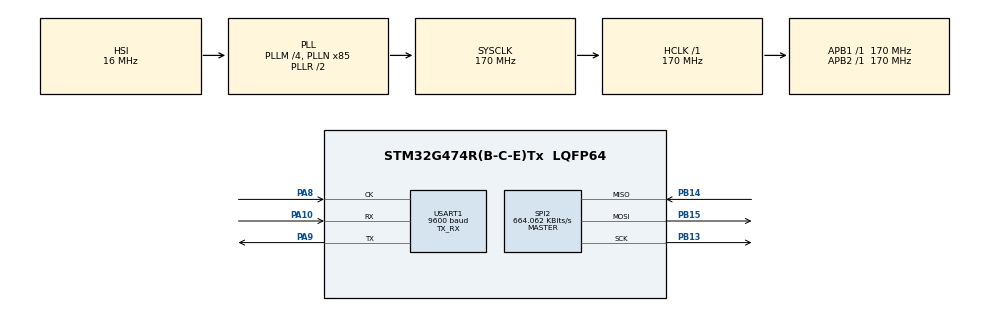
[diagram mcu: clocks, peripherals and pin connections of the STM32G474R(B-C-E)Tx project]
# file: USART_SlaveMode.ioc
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Mcu.Family=STM32G4
Mcu.Name=STM32G474R(B-C-E)Tx
Mcu.Package=LQFP64
NVIC.PriorityGroup=NVIC_PRIORITYGROUP_4
PA10.GPIO_Speed=GPIO_SPEED_FREQ_VERY_HIGH
PA10.Mode=Synchronous Slave
PA10.Signal=USART1_RX
PA8.GPIO_Speed=GPIO_SPEED_FREQ_VERY_HIGH
PA8.Mode=Synchronous Slave
PA8.Signal=USART1_CK
PA9.GPIO_Speed=GPIO_SPEED_FREQ_VERY_HIGH
PA9.Mode=Synchronous Slave
PA9.Signal=USART1_TX
PB13.GPIO_PuPd=GPIO_PULLDOWN
PB13.GPIO_Speed=GPIO_SPEED_FREQ_VERY_HIGH
PB13.Mode=Full_Duplex_Master
PB13.Signal=SPI2_SCK
PB14.GPIO_PuPd=GPIO_PULLDOWN
PB14.GPIO_Speed=GPIO_SPEED_FREQ_VERY_HIGH
PB14.Mode=Full_Duplex_Master
PB14.Signal=SPI2_MISO
PB15.GPIO_PuPd=GPIO_PULLDOWN
PB15.GPIO_Speed=GPIO_SPEED_FREQ_VERY_HIGH
PB15.Mode=Full_Duplex_Master
PB15.Signal=SPI2_MOSI
ProjectManager.HeapSize=0x200
ProjectManager.StackSize=0x400
ProjectManager.TargetToolchain=EWARM V8.32
RCC.ADC12Freq_Value=170000000
RCC.ADC345Freq_Value=170000000
RCC.AHBFreq_Value=170000000
RCC.APB1Freq_Value=170000000
RCC.APB1TimFreq_Value=170000000
RCC.APB2Freq_Value=170000000
RCC.APB2TimFreq_Value=170000000
RCC.CortexFreq_Value=170000000
RCC.EXTERNAL_CLOCK_VALUE=12288000
RCC.HCLKFreq_Value=170000000
RCC.HSE_VALUE=24000000
RCC.HSI48_VALUE=48000000
RCC.HSI_VALUE=16000000
RCC.LSE_VALUE=32768
RCC.PLLM=RCC_PLLM_DIV4
RCC.PLLN=85
RCC.SYSCLKFreq_VALUE=170000000
RCC.SYSCLKSource=RCC_SYSCLKSOURCE_PLLCLK
RCC.USBFreq_Value=170000000
RCC.VCOOutputFreq_Value=340000000
SPI2.BaudRatePrescaler=SPI_BAUDRATEPRESCALER_256
SPI2.CLKPhase=SPI_PHASE_1EDGE
SPI2.CLKPolarity=SPI_POLARITY_LOW
SPI2.CRCCalculation=SPI_CRCCALCULATION_DISABLE
SPI2.CalculateBaudRate=664.062 KBits/s
SPI2.DataSize=SPI_DATASIZE_8BIT
SPI2.Direction=SPI_DIRECTION_2LINES
SPI2.FirstBit=SPI_FIRSTBIT_LSB
SPI2.Mode=SPI_MODE_MASTER
SPI2.NSS=SPI_NSS_SOFT
SPI2.NSSPMode=SPI_NSS_PULSE_DISABLE
SPI2.TIMode=SPI_TIMODE_DISABLE
SPI2.VirtualType=VM_MASTER
USART1.BaudRate=9600
USART1.CLKLastBit=USART_LASTBIT_ENABLE
USART1.CLKPhase=USART_PHASE_1EDGE
USART1.CLKPolarity=USART_POLARITY_LOW
USART1.ClockPrescaler=PRESCALER_DIV1
USART1.FIFOMode=FIFOMODE_DISABLE
USART1.Mode=MODE_TX_RX
USART1.NSS=USART_NSS_SOFT
USART1.Parity=PARITY_NONE
USART1.RXFIFOThreshold=RXFIFO_THRESHOLD_1EIGHTHFULL
USART1.SlaveMode=USART_SLAVEMODE_ENABLE
USART1.StopBits=STOPBITS_1
USART1.TXFIFOThreshold=TXFIFO_THRESHOLD_1EIGHTHFULL
USART1.VirtualMode-Synchronous\ Slave=VM_SYNC
USART1.WordLength=WORDLENGTH_8B
VP_SYS_VS_DBSignals.Mode=DisableDeadBatterySignals
VP_USART1_VNSS.Mode=Software NSS Management
board=custom

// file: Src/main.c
/* USER CODE BEGIN Header */
/**
  ******************************************************************************
  * @file    USART/USART_SlaveMode/Src/main.c
  * @author  MCD Application Team
  * @brief   This sample code shows how to use USART HAL API (USART instance)
  *          to set up a USART-SPI communication.
  *          Two boards are used, one configured as a SPI master and the second
  *          one configured as an USART slave.
  ******************************************************************************
  * @attention
  *
  * Copyright (c) 2019 STMicroelectronics.
  * All rights reserved.
  *
  * This software is licensed under terms that can be found in the LICENSE file
  * in the root directory of this software component.
  * If no LICENSE file comes with this software, it is provided AS-IS.
  *
  ******************************************************************************
  */
/* USER CODE END Header */
#include "main.h"

/* USER CODE BEGIN PD */
#define SLAVE_BOARD
/* USER CODE END PD */

SPI_HandleTypeDef hspi2;

USART_HandleTypeDef husart1;

/* USER CODE BEGIN PV */
__IO uint32_t UserButtonStatus = 0; /* set to 1 after User Button interrupt */

/* Buffer used for transmission */
uint8_t aTxBuffer[] = " **** USART_SlaveMode ****  **** USART_SlaveMode ****  **** USART_SlaveMode **** ";

/* Buffer used for reception */
uint8_t aRxBuffer[RXBUFFERSIZE];
/* USER CODE END PV */

void SystemClock_Config(void);
static void MX_GPIO_Init(void);
static void MX_SPI2_Init(void);
static void MX_USART1_Init(void);
/* USER CODE BEGIN PFP */
static uint16_t Buffercmp(uint8_t* pBuffer1, uint8_t* pBuffer2, uint16_t BufferLength);
/* USER CODE END PFP */

int main(void)
{
  /* USER CODE BEGIN 1 */
  /* STM32G4xx HAL library initialization:
       - Configure the Flash prefetch
       - Systick timer is configured by default as source of time base, but user
         can eventually implement his proper time base source (a general purpose
         timer for example or other time source), keeping in mind that Time base
         duration should be kept 1ms since PPP_TIMEOUT_VALUEs are defined and
         handled in milliseconds basis.
       - Set NVIC Group Priority to 4
       - Low Level Initialization
     */
  /* USER CODE END 1 */

  /* MCU Configuration--------------------------------------------------------*/

  /* Reset of all peripherals, Initializes the Flash interface and the Systick. */
  HAL_Init();

  /* Configure the system clock */
  SystemClock_Config();

  /* USER CODE BEGIN SysInit */
  /* Initialize BSP LED */
  BSP_LED_Init(LED2);
  /* USER CODE END SysInit */

  /* Initialize all configured peripherals */
  MX_GPIO_Init();
  MX_SPI2_Init();
  MX_USART1_Init();
  /* USER CODE BEGIN 2 */

#ifdef SLAVE_BOARD

  /*##-1- Start the transmission/reception process ###########################*/
  if(HAL_USART_TransmitReceive(&husart1, (uint8_t*)aTxBuffer, (uint8_t*)aRxBuffer, TXBUFFERSIZE, 0x1FFFFFF)!= HAL_OK)
  {
    Error_Handler();
  }

#else

  /*##-1- Configure the user button ##########################################*/

  /* Configure User push-button in Interrupt mode */
  BSP_PB_Init(BUTTON_USER, BUTTON_MODE_EXTI);

  /* Wait for User push-button press before starting the Communication.
     In the meantime, LED2 is blinking */
  while(UserButtonStatus == 0)
  {
    /* Toggle LED2 */
    BSP_LED_Toggle(LED2);
    HAL_Delay(100);
  }

  BSP_LED_Off(LED2);

  /*##-2- Start the transmission/reception process ###########################*/
  if(HAL_SPI_TransmitReceive(&hspi2, (uint8_t*)aTxBuffer, (uint8_t*)aRxBuffer, TXBUFFERSIZE, 5000)!= HAL_OK)
  {
    Error_Handler();
  }

#endif /* SLAVE_BOARD */

  /*##-3- Compare the sent and received buffers ##############################*/
  if(Buffercmp((uint8_t*)aTxBuffer,(uint8_t*)aRxBuffer,RXBUFFERSIZE))
  {
    Error_Handler();
  }

  /* Turn on LED2 if test passes then enter infinite loop */
  BSP_LED_On(LED2);

  /* The SPI Master board receives the message and sends it back */

  /* USER CODE END 2 */

  /* Infinite loop */
  while (1)
  {

  }
}

void SystemClock_Config(void)
{
  RCC_OscInitTypeDef RCC_OscInitStruct = {0};
  RCC_ClkInitTypeDef RCC_ClkInitStruct = {0};

  /** Configure the main internal regulator output voltage
  */
  HAL_PWREx_ControlVoltageScaling(PWR_REGULATOR_VOLTAGE_SCALE1_BOOST);

  /** Initializes the RCC Oscillators according to the specified parameters
  * in the RCC_OscInitTypeDef structure.
  */
  RCC_OscInitStruct.OscillatorType = RCC_OSCILLATORTYPE_HSI;
  RCC_OscInitStruct.HSIState = RCC_HSI_ON;
  RCC_OscInitStruct.HSICalibrationValue = RCC_HSICALIBRATION_DEFAULT;
  RCC_OscInitStruct.PLL.PLLState = RCC_PLL_ON;
  RCC_OscInitStruct.PLL.PLLSource = RCC_PLLSOURCE_HSI;
  RCC_OscInitStruct.PLL.PLLM = RCC_PLLM_DIV4;
  RCC_OscInitStruct.PLL.PLLN = 85;
  RCC_OscInitStruct.PLL.PLLP = RCC_PLLP_DIV2;
  RCC_OscInitStruct.PLL.PLLQ = RCC_PLLQ_DIV2;
  RCC_OscInitStruct.PLL.PLLR = RCC_PLLR_DIV2;
  if (HAL_RCC_OscConfig(&RCC_OscInitStruct) != HAL_OK)
  {
    Error_Handler();
  }

  /** Initializes the CPU, AHB and APB buses clocks
  */
  RCC_ClkInitStruct.ClockType = RCC_CLOCKTYPE_HCLK|RCC_CLOCKTYPE_SYSCLK
                              |RCC_CLOCKTYPE_PCLK1|RCC_CLOCKTYPE_PCLK2;
  RCC_ClkInitStruct.SYSCLKSource = RCC_SYSCLKSOURCE_PLLCLK;
  RCC_ClkInitStruct.AHBCLKDivider = RCC_SYSCLK_DIV1;
  RCC_ClkInitStruct.APB1CLKDivider = RCC_HCLK_DIV1;
  RCC_ClkInitStruct.APB2CLKDivider = RCC_HCLK_DIV1;

  if (HAL_RCC_ClockConfig(&RCC_ClkInitStruct, FLASH_LATENCY_4) != HAL_OK)
  {
    Error_Handler();
  }
}

static void MX_SPI2_Init(void)
{

  /* SPI2 parameter configuration*/
  hspi2.Instance = SPI2;
  hspi2.Init.Mode = SPI_MODE_MASTER;
  hspi2.Init.Direction = SPI_DIRECTION_2LINES;
  hspi2.Init.DataSize = SPI_DATASIZE_8BIT;
  hspi2.Init.CLKPolarity = SPI_POLARITY_LOW;
  hspi2.Init.CLKPhase = SPI_PHASE_1EDGE;
  hspi2.Init.NSS = SPI_NSS_SOFT;
  hspi2.Init.BaudRatePrescaler = SPI_BAUDRATEPRESCALER_256;
  hspi2.Init.FirstBit = SPI_FIRSTBIT_LSB;
  hspi2.Init.TIMode = SPI_TIMODE_DISABLE;
  hspi2.Init.CRCCalculation = SPI_CRCCALCULATION_DISABLE;
  hspi2.Init.CRCPolynomial = 7;
  hspi2.Init.CRCLength = SPI_CRC_LENGTH_DATASIZE;
  hspi2.Init.NSSPMode = SPI_NSS_PULSE_DISABLE;
  if (HAL_SPI_Init(&hspi2) != HAL_OK)
  {
    Error_Handler();
  }

}

static void MX_USART1_Init(void)
{

  husart1.Instance = USART1;
  husart1.Init.BaudRate = 9600;
  husart1.Init.WordLength = USART_WORDLENGTH_8B;
  husart1.Init.StopBits = USART_STOPBITS_1;
  husart1.Init.Parity = USART_PARITY_NONE;
  husart1.Init.Mode = USART_MODE_TX_RX;
  husart1.Init.CLKPolarity = USART_POLARITY_LOW;
  husart1.Init.CLKPhase = USART_PHASE_1EDGE;
  husart1.Init.CLKLastBit = USART_LASTBIT_ENABLE;
  husart1.Init.ClockPrescaler = USART_PRESCALER_DIV1;
  husart1.SlaveMode = USART_SLAVEMODE_ENABLE;
  if (HAL_USART_Init(&husart1) != HAL_OK)
  {
    Error_Handler();
  }
  if (HAL_USARTEx_SetTxFifoThreshold(&husart1, USART_TXFIFO_THRESHOLD_1_8) != HAL_OK)
  {
    Error_Handler();
  }
  if (HAL_USARTEx_SetRxFifoThreshold(&husart1, USART_RXFIFO_THRESHOLD_1_8) != HAL_OK)
  {
    Error_Handler();
  }
  if (HAL_USARTEx_ConfigNSS(&husart1, USART_NSS_SOFT) != HAL_OK)
  {
    Error_Handler();
  }
  if (HAL_USARTEx_DisableFifoMode(&husart1) != HAL_OK)
  {
    Error_Handler();
  }
  if (HAL_USARTEx_EnableSlaveMode(&husart1) != HAL_OK)
  {
    Error_Handler();
  }

}

static void MX_GPIO_Init(void)
{

  /* GPIO Ports Clock Enable */
  __HAL_RCC_GPIOB_CLK_ENABLE();
  __HAL_RCC_GPIOA_CLK_ENABLE();

}

/* USER CODE BEGIN 4 */
/**
  * @brief EXTI line detection callbacks
  * @param GPIO_Pin: Specifies the pins connected EXTI line
  * @retval None
  */
void HAL_GPIO_EXTI_Callback(uint16_t GPIO_Pin)
{
  if(GPIO_Pin == USER_BUTTON_PIN)
  {
    UserButtonStatus = 1;
  }
}

/**
  * @brief  Compares two buffers.
  * @param  pBuffer1, pBuffer2: buffers to be compared.
  * @param  BufferLength: buffer's length
  * @retval 0  : pBuffer1 identical to pBuffer2
  *         >0 : pBuffer1 differs from pBuffer2
  */
static uint16_t Buffercmp(uint8_t* pBuffer1, uint8_t* pBuffer2, uint16_t BufferLength)
{
  while (BufferLength--)
  {
    if ((*pBuffer1) != *pBuffer2)
    {
      return BufferLength;
    }
    pBuffer1++;
    pBuffer2++;
  }

  return 0;
}
/* USER CODE END 4 */

void Error_Handler(void)
{
  /* USER CODE BEGIN Error_Handler_Debug */
  /* User can add his own implementation to report the HAL error return state */
  while(1)
  {
    /* LED2 is blinking */
    BSP_LED_Toggle(LED2);
    HAL_Delay(500);
  }
  /* USER CODE END Error_Handler_Debug */
}
